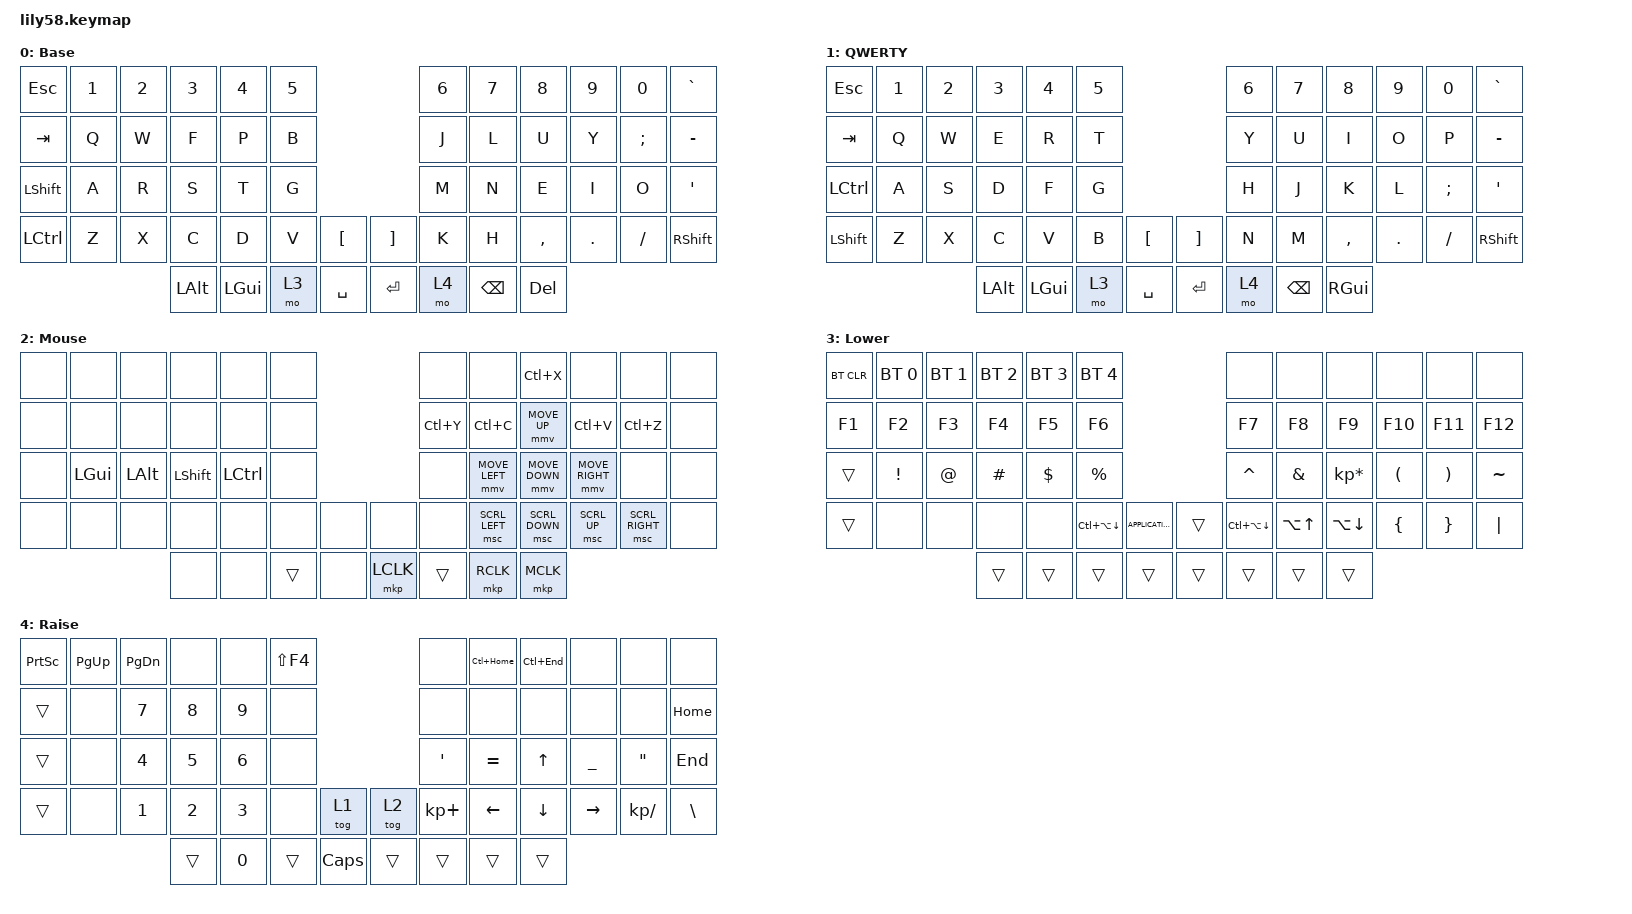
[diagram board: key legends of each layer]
/*
 * Copyright (c) 2020 The ZMK Contributors
 *
 * SPDX-License-Identifier: MIT
 */

#include <behaviors.dtsi>
#include <dt-bindings/zmk/bt.h>
#include <dt-bindings/zmk/keys.h>
#include <dt-bindings/zmk/pointing.h>

/ {
    keymap {
        compatible = "zmk,keymap";

        default_layer {
            display-name = "Base";
            bindings = <
&kp ESC    &kp N1  &kp N2  &kp N3    &kp N4    &kp N5                         &kp N6  &kp N7    &kp N8     &kp N9   &kp N0    &kp GRAVE
&kp TAB    &kp Q   &kp W   &kp F     &kp P     &kp B                          &kp J   &kp L     &kp U      &kp Y    &kp SEMI  &kp MINUS
&kp LSHFT  &kp A   &kp R   &kp S     &kp T     &kp G                          &kp M   &kp N     &kp E      &kp I    &kp O     &kp SQT
&kp LCTRL  &kp Z   &kp X   &kp C     &kp D     &kp V   &kp LBKT     &kp RBKT  &kp K   &kp H     &kp COMMA  &kp DOT  &kp FSLH  &kp RSHFT
                           &kp LALT  &kp LGUI  &mo 3   &kp SPACE    &kp RET   &mo 4   &kp BSPC  &kp DEL
            >;

            label = "Colemak";
        };
         qwerty_layer {
// ------------------------------------------------------------------------------------------------------------
// |  ESC  |  1  |  2  |  3   |  4   |  5   |                   |  6   |  7    |  8    |  9   |   0   |   `   |
// |  TAB  |  Q  |  W  |  E   |  R   |  T   |                   |  Y   |  U    |  I    |  O   |   P   |   -   |
// |  CTRL |  A  |  S  |  D   |  F   |  G   |                   |  H   |  J    |  K    |  L   |   ;   |   '   |
// | SHIFT |  Z  |  X  |  C   |  V   |  B   |   "["  |  |  "]"  |  N   |  M    |  ,    |  .   |   /   | SHIFT |
//                     | ALT  | GUI  | LOWER|  SPACE |  | ENTER | RAISE| BSPC  | GUI   |
            display-name = "QWERTY";
            bindings = <
&kp ESC   &kp N1 &kp N2 &kp N3   &kp N4   &kp N5                     &kp N6 &kp N7   &kp N8    &kp N9  &kp N0   &kp GRAVE
&kp TAB   &kp Q  &kp W  &kp E    &kp R    &kp T                      &kp Y  &kp U    &kp I     &kp O   &kp P    &kp MINUS
&kp LCTRL &kp A  &kp S  &kp D    &kp F    &kp G                      &kp H  &kp J    &kp K     &kp L   &kp SEMI &kp SQT
&kp LSHFT &kp Z  &kp X  &kp C    &kp V    &kp B  &kp LBKT   &kp RBKT &kp N  &kp M    &kp COMMA &kp DOT &kp FSLH &kp RSHFT
                        &kp LALT &kp LGUI &mo 3  &kp SPACE  &kp RET  &mo 4  &kp BSPC &kp RGUI
            >;

            label = "QWERTY";
        };

        Mouse {
            display-name = "Mouse";
            bindings = <
&none  &none     &none     &none      &none      &none                       &none      &none           &kp LC(X)       &none            &none            &none
&none  &none     &none     &none      &none      &none                       &kp LC(Y)  &kp LC(C)       &mmv MOVE_UP    &kp LC(V)        &kp LC(Z)        &none
&none  &kp LGUI  &kp LALT  &kp LSHFT  &kp LCTRL  &none                       &none      &mmv MOVE_LEFT  &mmv MOVE_DOWN  &mmv MOVE_RIGHT  &none            &none
&none  &none     &none     &none      &none      &none   &none    &none      &none      &msc SCRL_LEFT  &msc SCRL_DOWN  &msc SCRL_UP     &msc SCRL_RIGHT  &none
                           &none      &none      &trans  &none    &mkp LCLK  &trans     &mkp RCLK       &mkp MCLK
            >;
        };

        lower_layer {
            

            display-name = "Lower";
            bindings = <
&bt BT_CLR  &bt BT_SEL 0  &bt BT_SEL 1  &bt BT_SEL 2  &bt BT_SEL 3  &bt BT_SEL 4                                         &none                   &none             &none               &none     &none     &none
&kp F1      &kp F2        &kp F3        &kp F4        &kp F5        &kp F6                                               &kp F7                  &kp F8            &kp F9              &kp F10   &kp F11   &kp F12
&trans      &kp EXCL      &kp AT        &kp HASH      &kp DOLLAR    &kp PRCNT                                            &kp CARET               &kp AMPS          &kp KP_MULTIPLY     &kp LPAR  &kp RPAR  &kp TILDE
&trans      &none         &none         &none         &none         &kp LC(LA(DOWN_ARROW))  &kp K_APPLICATION    &trans  &kp LC(LA(DOWN_ARROW))  &kp LA(UP_ARROW)  &kp LA(DOWN_ARROW)  &kp LBRC  &kp RBRC  &kp PIPE
                                        &trans        &trans        &trans                  &trans               &trans  &trans                  &trans            &trans
            >;
        };

        raise_layer {
            

            display-name = "Raise";
            bindings = <
&kp PRINTSCREEN  &kp PAGE_UP  &kp PAGE_DOWN  &none         &none         &kp LS(F4)                          &none        &kp LC(HOME)    &kp LC(END)     &none            &none              &none
&trans           &none        &kp NUMBER_7   &kp NUMBER_8  &kp NUMBER_9  &none                               &none        &none           &none           &none            &none              &kp HOME
&trans           &none        &kp NUMBER_4   &kp NUMBER_5  &kp NUMBER_6  &none                               &kp APOS     &kp EQUAL       &kp UP_ARROW    &kp UNDERSCORE   &kp DOUBLE_QUOTES  &kp END
&trans           &none        &kp NUMBER_1   &kp NUMBER_2  &kp NUMBER_3  &none       &tog 1          &tog 2  &kp KP_PLUS  &kp LEFT_ARROW  &kp DOWN_ARROW  &kp RIGHT_ARROW  &kp KP_DIVIDE      &kp BSLH
                                             &trans        &kp NUMBER_0  &trans      &kp CAPSLOCK    &trans  &trans       &trans          &trans
            >;
        };


        extra_3 { status = "reserved"; };
    };
};
